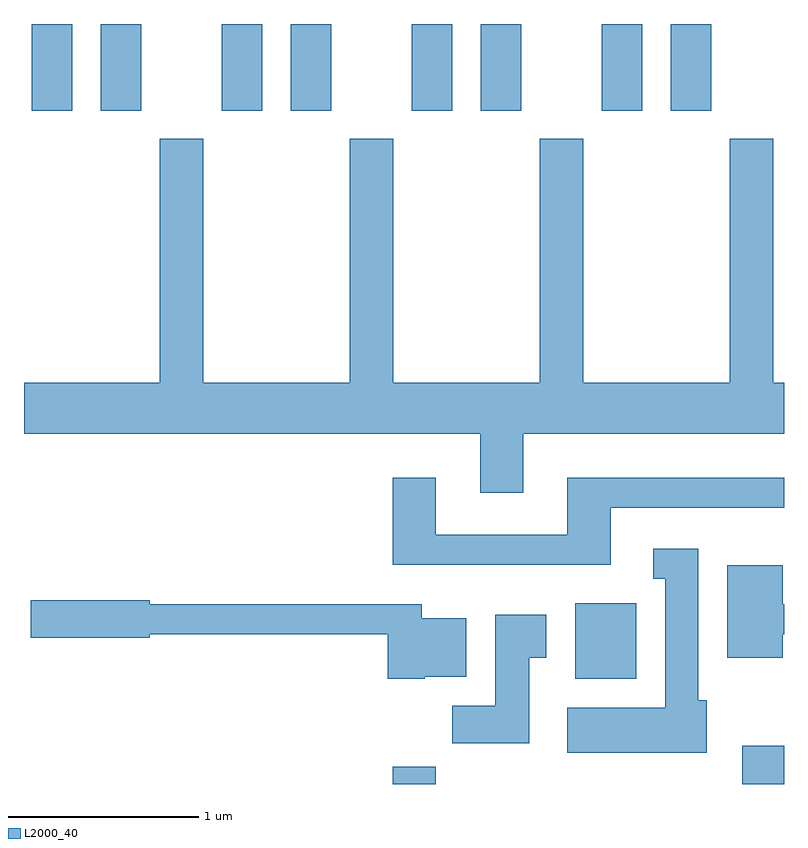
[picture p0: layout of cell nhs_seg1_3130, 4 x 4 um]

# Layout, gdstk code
import gdstk
lib = gdstk.Library(unit=1e-6, precision=1e-09)
def R(c, l, rs):  # rectangles x0, y0, x1, y1
    for r in rs: c.add(gdstk.rectangle(r[:2], r[2:], *l))
def P(c, l, *ps):  # polygons
    for p in ps: c.add(gdstk.Polygon(p, *l))
L2000_40 = (2000, 40)

nhs_seg1_3130 = lib.new_cell('nhs_seg1_3130')
R(nhs_seg1_3130, L2000_40, [(281.551,917.712,281.779,917.804), (283.391,917.712,283.611,917.914), (282.511,918.266,282.834,918.664), (279.651,921.256,279.864,921.712), (280.016,921.256,280.229,921.712), (280.651,921.256,280.864,921.712), (281.016,921.256,281.229,921.712), (281.651,921.256,281.864,921.712), (282.016,921.256,282.229,921.712), (282.651,921.256,282.864,921.712), (283.016,921.256,283.229,921.712)])
P(nhs_seg1_3130, L2000_40, [(282.239,919.556),(283.611,919.556),(283.611,919.824),(283.554,919.824),(283.554,921.109),(283.326,921.109),(283.326,919.824),(282.554,919.824),(282.554,921.109),(282.326,921.109),(282.326,919.824),(281.554,919.824),(281.554,921.109),(281.326,921.109),(281.326,919.824),(280.554,919.824),(280.554,921.109),(280.326,921.109),(280.326,919.824),(279.611,919.824),(279.611,919.556),(282.011,919.556),(282.011,919.246),(282.239,919.246)],
  [(282.699,919.166),(283.611,919.166),(283.611,919.324),(282.471,919.324),(282.471,919.024),(281.779,919.024),(281.779,919.324),(281.551,919.324),(281.551,918.866),(282.699,918.866)],
  [(283.204,918.154),(283.159,918.154),(283.159,918.949),(282.923,918.949),(282.923,918.791),(282.986,918.791),(282.986,918.114),(282.471,918.114),(282.471,917.876),(283.204,917.876)],
  [(283.604,918.501),(283.611,918.501),(283.611,918.659),(283.604,918.659),(283.604,918.864),(283.311,918.864),(283.311,918.376),(283.604,918.376)],
  [(281.72,918.276),(281.939,918.276),(281.939,918.584),(281.704,918.584),(281.704,918.659),(280.274,918.659),(280.274,918.679),(279.646,918.679),(279.646,918.481),(280.274,918.481),(280.274,918.501),(281.526,918.501),(281.526,918.266),(281.72,918.266)],
  [(282.269,918.376),(282.359,918.376),(282.359,918.604),(282.091,918.604),(282.091,918.124),(281.866,918.124),(281.866,917.926),(282.269,917.926)])

lib.write_gds('nhs_seg1_3130.gds')
